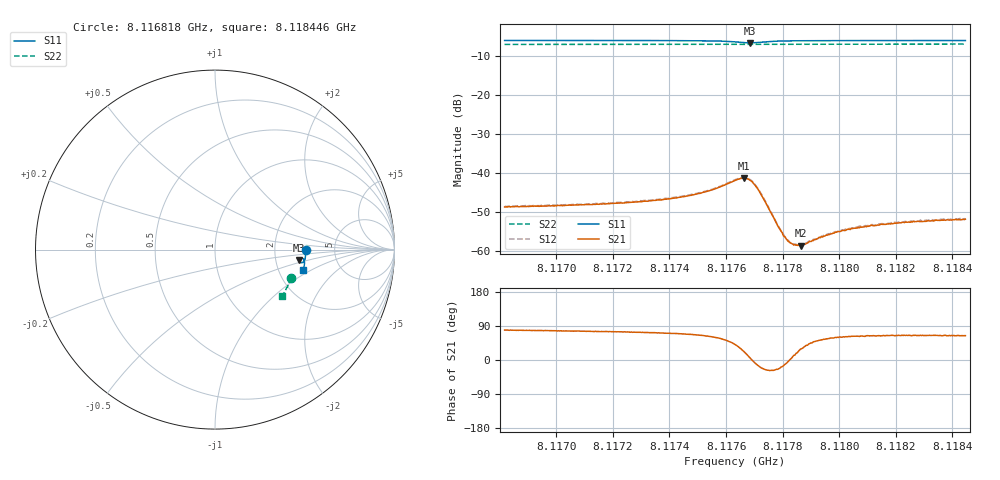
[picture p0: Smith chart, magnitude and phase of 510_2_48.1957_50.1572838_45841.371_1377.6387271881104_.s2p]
#  HZ  S  RI  R  50.00
! Rohde & Schwarz Vector Network Analyzer
! Rohde-Schwarz,ZNB20-2Port,1311601062101988,3.16
! Created: UTC 3/20/2024, 11:58:56 AM
! freq[Hz]  re:S11  im:S11  re:S21  im:S21  re:S12  im:S12  re:S22  im:S22
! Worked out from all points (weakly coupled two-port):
!   401 points, 8.116818 GHz to 8.118446 GHz, reference 50 ohm
!   highest |S21| = -41.19 dB at 8.117664 GHz (marker M1); lowest = -58.5 dB at 8.117864 GHz (marker M2)
!   lowest |S11| = -6.5 dB at 8.117685 GHz (marker M3), VSWR 2.78, Z = 136 - j20.3 ohm
!   |S11| at or under -10 dB: nowhere
!   |S22| runs from -6.9 to -6.8 dB; largest |S21 - S12| = 0.00024
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8.1168177e9  0.5067 -0.00185  0.000707 0.00365  0.000762 0.00368  0.4229 -0.1564
8.1170904e9  0.5056 -0.0233  0.000947 0.00384  0.00103 0.00389  0.4167 -0.1742
8.1173631e9  0.5028 -0.0461  0.00143 0.00434  0.00152 0.00441  0.4095 -0.192
8.1175097e9  0.4986 -0.0608  0.00232 0.00505  0.0024 0.00514  0.4052 -0.2017
8.1175626e9  0.4944 -0.0674  0.00323 0.00552  0.00335 0.00554  0.4036 -0.2051
8.1176318e9  0.4805 -0.0736  0.00617 0.00531  0.00631 0.0054  0.4009 -0.2094
8.1176643e9  0.4696 -0.0677  0.00811 0.00321  0.00828 0.00322  0.3995 -0.2109
8.1176847e9  0.4674 -0.0583  0.00815 0.000788  0.00832 0.000784  0.399 -0.2115
8.1177009e9  0.4709 -0.0512  0.00713 -0.000863  0.00728 -0.000931  0.3987 -0.2124
8.1177172e9  0.4768 -0.0472  0.00566 -0.00175  0.0058 -0.00181  0.3987 -0.2132
8.1177864e9  0.4943 -0.054  0.00186 -0.000791  0.00191 -0.000822  0.3973 -0.218
8.1178108e9  0.4964 -0.0578  0.00146 -0.000262  0.00148 -0.000273  0.3967 -0.2194
8.1178312e9  0.4974 -0.061  0.00126 0.000101  0.00128 9.25e-05  0.396 -0.2208
8.1178475e9  0.4981 -0.0631  0.00114 0.00036  0.00118 0.000368  0.3955 -0.2219
8.1178638e9  0.4983 -0.0653  0.00104 0.000573  0.00108 0.0006  0.3949 -0.2229
8.1179045e9  0.4985 -0.0701  0.000964 0.000978  0.000982 0.000973  0.3937 -0.2255
8.1179533e9  0.4986 -0.0752  0.000906 0.00134  0.000919 0.00135  0.3921 -0.2286
8.1180144e9  0.4982 -0.081  0.000891 0.00164  0.000914 0.00164  0.39 -0.2324
8.1180673e9  0.4976 -0.0857  0.000922 0.0018  0.000945 0.00186  0.3883 -0.2357
8.1181772e9  0.4962 -0.0948  0.000977 0.00204  0.000984 0.00207  0.3845 -0.2426
8.1182952e9  0.4943 -0.1042  0.00102 0.00219  0.00108 0.00227  0.3804 -0.2497
8.1184458e9  0.4917 -0.1156  0.00113 0.00234  0.00115 0.00236  0.3748 -0.2587
